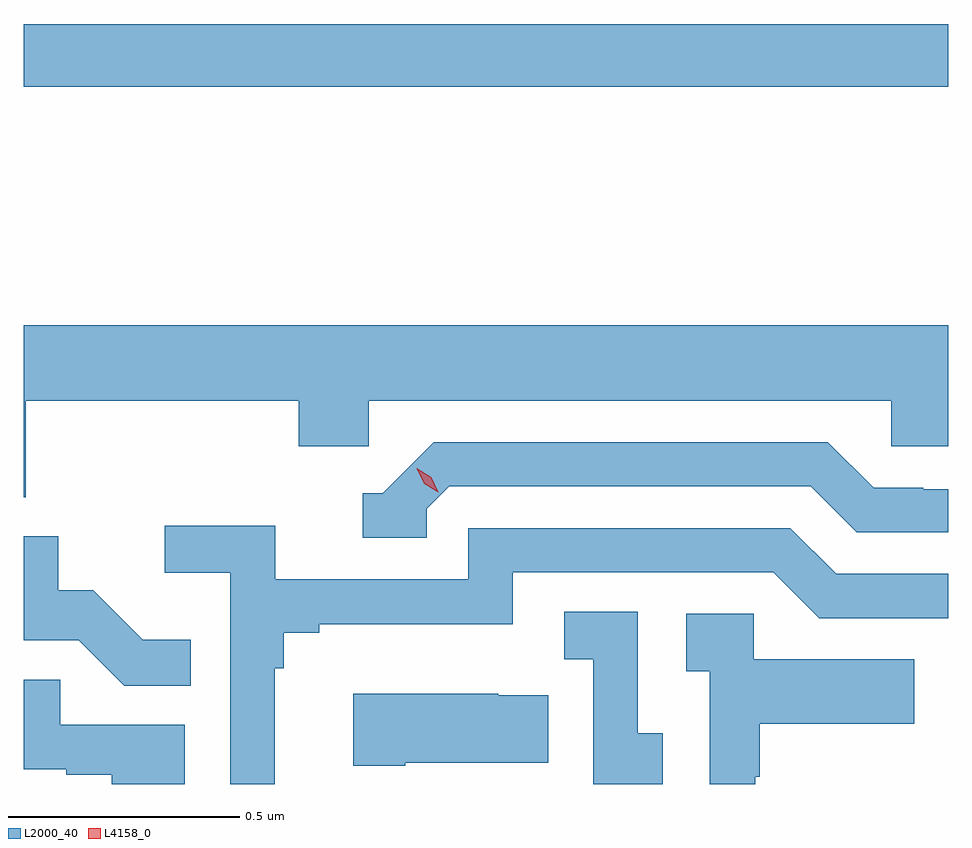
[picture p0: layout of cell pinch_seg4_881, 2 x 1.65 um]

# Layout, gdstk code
import gdstk
lib = gdstk.Library(unit=1e-6, precision=1e-09)
def R(c, l, rs):  # rectangles x0, y0, x1, y1
    for r in rs: c.add(gdstk.rectangle(r[:2], r[2:], *l))
def P(c, l, *ps):  # polygons
    for p in ps: c.add(gdstk.Polygon(p, *l))
L2000_40 = (2000, 40)
L4158_0 = (4158, 0)

pinch_seg4_881 = lib.new_cell('pinch_seg4_881')
R(pinch_seg4_881, L2000_40, [(833.374,808.156,835.374,808.292)])
P(pinch_seg4_881, L2000_40, [(833.378,807.476),(833.969,807.476),(833.969,807.378),(834.12,807.378),(834.12,807.476),(835.251,807.476),(835.251,807.378),(835.374,807.378),(835.374,807.64),(833.374,807.64),(833.374,807.268),(833.378,807.268)],
  [(834.246,807.243),(834.294,807.291),(835.077,807.291),(835.176,807.192),(835.374,807.192),(835.374,807.285),(835.32,807.285),(835.32,807.288),(835.213,807.288),(835.114,807.387),(834.261,807.387),(834.15,807.276),(834.107,807.276),(834.107,807.18),(834.246,807.18)],
  [(833.917,806.897),(833.936,806.897),(833.936,806.974),(834.013,806.974),(834.013,806.993),(834.432,806.993),(834.432,807.105),(834.996,807.105),(835.095,807.006),(835.374,807.006),(835.374,807.102),(835.132,807.102),(835.033,807.201),(834.336,807.201),(834.336,807.09),(833.918,807.09),(833.918,807.206),(833.679,807.206),(833.679,807.104),(833.82,807.104),(833.82,806.647),(833.917,806.647)],
  [(833.735,806.959),(833.631,806.959),(833.524,807.066),(833.448,807.066),(833.448,807.183),(833.374,807.183),(833.374,806.958),(833.493,806.958),(833.591,806.86),(833.735,806.86)],
  [(834.757,806.757),(834.702,806.757),(834.702,807.02),(834.543,807.02),(834.543,806.917),(834.606,806.917),(834.606,806.647),(834.757,806.647)],
  [(834.957,806.663),(834.967,806.663),(834.967,806.777),(835.301,806.777),(835.301,806.917),(834.954,806.917),(834.954,807.015),(834.807,807.015),(834.807,806.891),(834.858,806.891),(834.858,806.647),(834.957,806.647)],
  [(833.722,806.775),(833.453,806.775),(833.453,806.873),(833.374,806.873),(833.374,806.679),(833.465,806.679),(833.465,806.667),(833.564,806.667),(833.564,806.647),(833.722,806.647)],
  [(834.199,806.693),(834.509,806.693),(834.509,806.839),(834.401,806.839),(834.401,806.842),(834.087,806.842),(834.087,806.686),(834.199,806.686)])
P(pinch_seg4_881, L4158_0, [(834.271,807.278),(834.24,807.297),(834.224,807.33),(834.224,807.33),(834.224,807.33),(834.255,807.311),(834.271,807.278),(834.271,807.278)])

lib.write_gds('pinch_seg4_881.gds')
